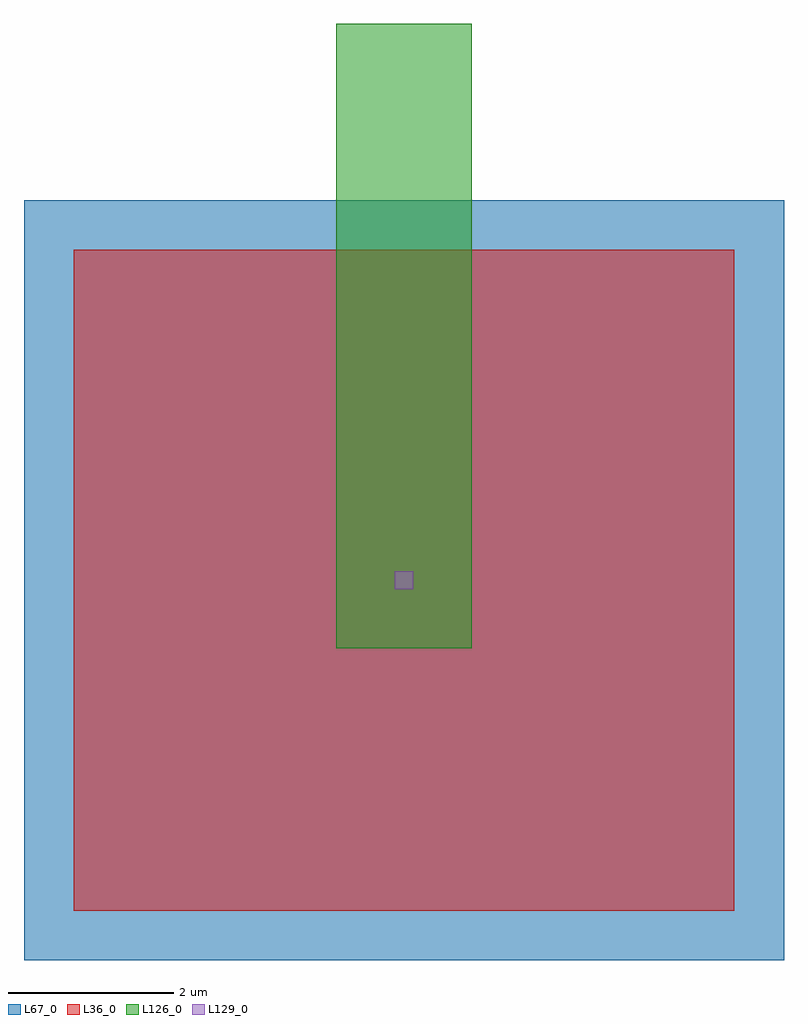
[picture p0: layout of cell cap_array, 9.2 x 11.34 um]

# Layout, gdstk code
import gdstk
lib = gdstk.Library(unit=1e-6, precision=1e-09)
def R(c, l, rs):  # rectangles x0, y0, x1, y1
    for r in rs: c.add(gdstk.rectangle(r[:2], r[2:], *l))
L36_0 = (36, 0)
L67_0 = (67, 0)
L126_0 = (126, 0)
L129_0 = (129, 0)

cap_array = lib.new_cell('cap_array')
R(cap_array, L36_0, [(0.6,0.6,8.6,8.6)])
R(cap_array, L67_0, [(0,0,9.2,9.2)])
R(cap_array, L126_0, [(3.78,3.78,5.42,5.42), (3.78,5.42,5.42,9.7), (3.78,9.7,5.42,11.34)])
R(cap_array, L129_0, [(4.49,4.49,4.71,4.71)])

lib.write_gds('cap_array.gds')
